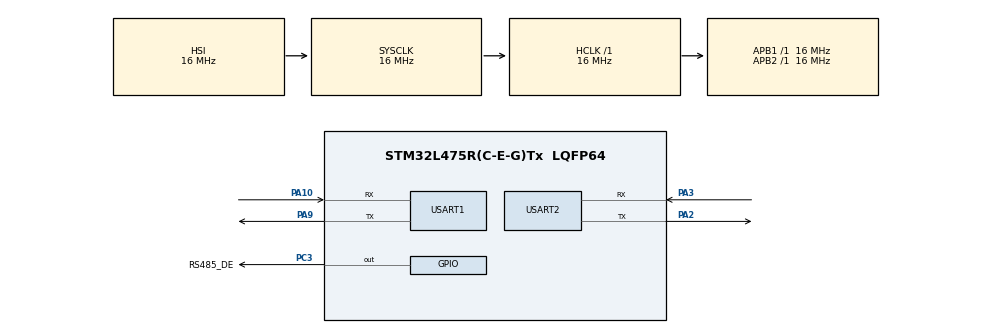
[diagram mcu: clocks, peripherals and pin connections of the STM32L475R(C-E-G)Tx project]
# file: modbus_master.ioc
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FREERTOS.Tasks01=defaultTask,0,128,StartDefaultTask,Default,NULL
FREERTOS.configTOTAL_HEAP_SIZE=10240
Mcu.Family=STM32L4
Mcu.Name=STM32L475R(C-E-G)Tx
Mcu.Package=LQFP64
NVIC.PriorityGroup=NVIC_PRIORITYGROUP_4
NVIC.TIM1_UP_TIM16_IRQn=true\:0\:0\:false\:false\:true\:false\:false
NVIC.TIM6_DAC_IRQn=true\:5\:0\:false\:false\:true\:true\:true
NVIC.TimeBase=TIM1_UP_TIM16_IRQn
NVIC.TimeBaseIP=TIM1
NVIC.USART2_IRQn=true\:5\:0\:false\:false\:true\:true\:true
PA10.Mode=Asynchronous
PA10.Signal=USART1_RX
PA2.Mode=Asynchronous
PA2.Signal=USART2_TX
PA3.Mode=Asynchronous
PA3.Signal=USART2_RX
PA9.Mode=Asynchronous
PA9.Signal=USART1_TX
PC14-OSC32_IN\ (PC14).Mode=LSE-External-Oscillator
PC14-OSC32_IN\ (PC14).Signal=RCC_OSC32_IN
PC15-OSC32_OUT\ (PC15).Mode=LSE-External-Oscillator
PC15-OSC32_OUT\ (PC15).Signal=RCC_OSC32_OUT
PC3.GPIO_Label=RS485_DE
PC3.Signal=GPIO_Output
PH0-OSC_IN\ (PH0).Mode=HSE-External-Oscillator
PH0-OSC_IN\ (PH0).Signal=RCC_OSC_IN
PH1-OSC_OUT\ (PH1).Mode=HSE-External-Oscillator
PH1-OSC_OUT\ (PH1).Signal=RCC_OSC_OUT
ProjectManager.HeapSize=0x2000
ProjectManager.StackSize=0x4000
ProjectManager.TargetToolchain=MDK-ARM V5
RCC.ADCFreq_Value=64000000
RCC.AHBFreq_Value=16000000
RCC.APB1Freq_Value=16000000
RCC.APB1TimFreq_Value=16000000
RCC.APB2Freq_Value=16000000
RCC.APB2TimFreq_Value=16000000
RCC.CortexFreq_Value=16000000
RCC.HCLKFreq_Value=16000000
RCC.HSI_VALUE=16000000
RCC.MSI_VALUE=4000000
RCC.PLLSourceVirtual=RCC_PLLSOURCE_HSI
RCC.SYSCLKFreq_VALUE=16000000
RCC.SYSCLKSource=RCC_SYSCLKSOURCE_HSI
RCC.USBFreq_Value=64000000
RCC.VCOOutputFreq_Value=128000000
TIM6.AutoReloadPreload=TIM_AUTORELOAD_PRELOAD_ENABLE
TIM6.Period=20-1
TIM6.Prescaler=800-1
USART1.VirtualMode-Asynchronous=VM_ASYNC
USART1.WordLength=WORDLENGTH_8B
USART2.VirtualMode-Asynchronous=VM_ASYNC
USART2.WordLength=WORDLENGTH_8B
VP_FREERTOS_VS_ENABLE.Mode=Enabled
VP_SYS_VS_tim1.Mode=TIM1
VP_TIM6_VS_ClockSourceINT.Mode=Enable_Timer
board=modbus_master

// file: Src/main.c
/**
  ******************************************************************************
  * @file           : main.c
  * @brief          : Main program body
  ******************************************************************************
  * This notice applies to any and all portions of this file
  * that are not between comment pairs USER CODE BEGIN and
  * USER CODE END. Other portions of this file, whether
  * inserted by the user or by software development tools
  * are owned by their respective copyright owners.
  *
  * Copyright (c) 2019 STMicroelectronics International N.V.
  * All rights reserved.
  *
  * Redistribution and use in source and binary forms, with or without
  * modification, are permitted, provided that the following conditions are met:
  *
  * 1. Redistribution of source code must retain the above copyright notice,
  *    this list of conditions and the following disclaimer.
  * 2. Redistributions in binary form must reproduce the above copyright notice,
  *    this list of conditions and the following disclaimer in the documentation
  *    and/or other materials provided with the distribution.
  * 3. Neither the name of STMicroelectronics nor the names of other
  *    contributors to this software may be used to endorse or promote products
  *    derived from this software without specific written permission.
  * 4. This software, including modifications and/or derivative works of this
  *    software, must execute solely and exclusively on microcontroller or
  *    microprocessor devices manufactured by or for STMicroelectronics.
  * 5. Redistribution and use of this software other than as permitted under
  *    this license is void and will automatically terminate your rights under
  *    this license.
  *
  * THIS SOFTWARE IS PROVIDED BY STMICROELECTRONICS AND CONTRIBUTORS "AS IS"
  * AND ANY EXPRESS, IMPLIED OR STATUTORY WARRANTIES, INCLUDING, BUT NOT
  * LIMITED TO, THE IMPLIED WARRANTIES OF MERCHANTABILITY, FITNESS FOR A
  * PARTICULAR PURPOSE AND NON-INFRINGEMENT OF THIRD PARTY INTELLECTUAL PROPERTY
  * RIGHTS ARE DISCLAIMED TO THE FULLEST EXTENT PERMITTED BY LAW. IN NO EVENT
  * SHALL STMICROELECTRONICS OR CONTRIBUTORS BE LIABLE FOR ANY DIRECT, INDIRECT,
  * INCIDENTAL, SPECIAL, EXEMPLARY, OR CONSEQUENTIAL DAMAGES (INCLUDING, BUT NOT
  * LIMITED TO, PROCUREMENT OF SUBSTITUTE GOODS OR SERVICES; LOSS OF USE, DATA,
  * OR PROFITS; OR BUSINESS INTERRUPTION) HOWEVER CAUSED AND ON ANY THEORY OF
  * LIABILITY, WHETHER IN CONTRACT, STRICT LIABILITY, OR TORT (INCLUDING
  * NEGLIGENCE OR OTHERWISE) ARISING IN ANY WAY OUT OF THE USE OF THIS SOFTWARE,
  * EVEN IF ADVISED OF THE POSSIBILITY OF SUCH DAMAGE.
  *
  ******************************************************************************
  */
#include "main.h"
#include "stm32l4xx_hal.h"
#include "cmsis_os.h"
#include "tim.h"
#include "usart.h"
#include "gpio.h"

/* USER CODE BEGIN Includes */
#include "user_mb_app.h"
/* USER CODE END Includes */

/* USER CODE BEGIN PV */
/* Private variables ---------------------------------------------------------*/

/* USER CODE END PV */

void SystemClock_Config(void);
void MX_FREERTOS_Init(void);

/* USER CODE BEGIN PFP */
/* Private function prototypes -----------------------------------------------*/

/* USER CODE END PFP */

/* USER CODE BEGIN 0 */
void HAL_UART_TxCpltCallback(UART_HandleTypeDef *huart)
{
	if(huart->Instance == RS485_UART.Instance) {
#if MB_MASTER_RTU_ENABLED > 0
		pxMBMasterFrameCBTransmitterEmpty();
#else
		pxMBFrameCBTransmitterEmpty();
#endif
	}
}

void HAL_UART_RxCpltCallback(UART_HandleTypeDef *huart)
{
	if(huart->Instance == RS485_UART.Instance) {
#if MB_MASTER_RTU_ENABLED > 0
		pxMBMasterFrameCBByteReceived();
#else
		pxMBFrameCBByteReceived();
#endif
	}
}
/* USER CODE END 0 */

int main(void)
{

  /* MCU Configuration----------------------------------------------------------*/

  /* Reset of all peripherals, Initializes the Flash interface and the Systick. */
  HAL_Init();

  /* Configure the system clock */
  SystemClock_Config();

  /* Initialize all configured peripherals */
  MX_GPIO_Init();
  MX_USART1_UART_Init();
  MX_USART2_UART_Init();
  MX_TIM6_Init();
  /* USER CODE BEGIN 2 */
	printf("===welcome to modbus master example!===\r\n");
  /* USER CODE END 2 */

  /* Call init function for freertos objects (in freertos.c) */
  MX_FREERTOS_Init();

  /* Start scheduler */
  osKernelStart();

  /* We should never get here as control is now taken by the scheduler */

  /* Infinite loop */
  while (1)
  {

  }

}

void SystemClock_Config(void)
{

  RCC_OscInitTypeDef RCC_OscInitStruct;
  RCC_ClkInitTypeDef RCC_ClkInitStruct;
  RCC_PeriphCLKInitTypeDef PeriphClkInit;

    /**Initializes the CPU, AHB and APB busses clocks
    */
  RCC_OscInitStruct.OscillatorType = RCC_OSCILLATORTYPE_HSI;
  RCC_OscInitStruct.HSIState = RCC_HSI_ON;
  RCC_OscInitStruct.HSICalibrationValue = 16;
  RCC_OscInitStruct.PLL.PLLState = RCC_PLL_NONE;
  if (HAL_RCC_OscConfig(&RCC_OscInitStruct) != HAL_OK)
  {
    _Error_Handler(__FILE__, __LINE__);
  }

    /**Initializes the CPU, AHB and APB busses clocks
    */
  RCC_ClkInitStruct.ClockType = RCC_CLOCKTYPE_HCLK|RCC_CLOCKTYPE_SYSCLK
                              |RCC_CLOCKTYPE_PCLK1|RCC_CLOCKTYPE_PCLK2;
  RCC_ClkInitStruct.SYSCLKSource = RCC_SYSCLKSOURCE_HSI;
  RCC_ClkInitStruct.AHBCLKDivider = RCC_SYSCLK_DIV1;
  RCC_ClkInitStruct.APB1CLKDivider = RCC_HCLK_DIV1;
  RCC_ClkInitStruct.APB2CLKDivider = RCC_HCLK_DIV1;

  if (HAL_RCC_ClockConfig(&RCC_ClkInitStruct, FLASH_LATENCY_0) != HAL_OK)
  {
    _Error_Handler(__FILE__, __LINE__);
  }

  PeriphClkInit.PeriphClockSelection = RCC_PERIPHCLK_USART1|RCC_PERIPHCLK_USART2;
  PeriphClkInit.Usart1ClockSelection = RCC_USART1CLKSOURCE_PCLK2;
  PeriphClkInit.Usart2ClockSelection = RCC_USART2CLKSOURCE_PCLK1;
  if (HAL_RCCEx_PeriphCLKConfig(&PeriphClkInit) != HAL_OK)
  {
    _Error_Handler(__FILE__, __LINE__);
  }

    /**Configure the main internal regulator output voltage
    */
  if (HAL_PWREx_ControlVoltageScaling(PWR_REGULATOR_VOLTAGE_SCALE1) != HAL_OK)
  {
    _Error_Handler(__FILE__, __LINE__);
  }

    /**Configure the Systick interrupt time
    */
  HAL_SYSTICK_Config(HAL_RCC_GetHCLKFreq()/1000);

    /**Configure the Systick
    */
  HAL_SYSTICK_CLKSourceConfig(SYSTICK_CLKSOURCE_HCLK);

  /* SysTick_IRQn interrupt configuration */
  HAL_NVIC_SetPriority(SysTick_IRQn, 15, 0);
}

void HAL_TIM_PeriodElapsedCallback(TIM_HandleTypeDef *htim)
{
  if (htim->Instance == TIM1) {
    HAL_IncTick();
  }
  /* USER CODE BEGIN Callback 1 */
	if(htim->Instance == htim6.Instance) {
#if MB_MASTER_RTU_ENABLED > 0
		pxMBMasterPortCBTimerExpired();
#else
		pxMBPortCBTimerExpired();
#endif
	}
  /* USER CODE END Callback 1 */
}

void _Error_Handler(char *file, int line)
{
  while(1)
  {
  }
}

/************************ (C) COPYRIGHT STMicroelectronics *****END OF FILE****/

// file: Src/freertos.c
/**
  ******************************************************************************
  * File Name          : freertos.c
  * Description        : Code for freertos applications
  ******************************************************************************
  * This notice applies to any and all portions of this file
  * that are not between comment pairs USER CODE BEGIN and
  * USER CODE END. Other portions of this file, whether
  * inserted by the user or by software development tools
  * are owned by their respective copyright owners.
  *
  * Copyright (c) 2019 STMicroelectronics International N.V.
  * All rights reserved.
  *
  * Redistribution and use in source and binary forms, with or without
  * modification, are permitted, provided that the following conditions are met:
  *
  * 1. Redistribution of source code must retain the above copyright notice,
  *    this list of conditions and the following disclaimer.
  * 2. Redistributions in binary form must reproduce the above copyright notice,
  *    this list of conditions and the following disclaimer in the documentation
  *    and/or other materials provided with the distribution.
  * 3. Neither the name of STMicroelectronics nor the names of other
  *    contributors to this software may be used to endorse or promote products
  *    derived from this software without specific written permission.
  * 4. This software, including modifications and/or derivative works of this
  *    software, must execute solely and exclusively on microcontroller or
  *    microprocessor devices manufactured by or for STMicroelectronics.
  * 5. Redistribution and use of this software other than as permitted under
  *    this license is void and will automatically terminate your rights under
  *    this license.
  *
  * THIS SOFTWARE IS PROVIDED BY STMICROELECTRONICS AND CONTRIBUTORS "AS IS"
  * AND ANY EXPRESS, IMPLIED OR STATUTORY WARRANTIES, INCLUDING, BUT NOT
  * LIMITED TO, THE IMPLIED WARRANTIES OF MERCHANTABILITY, FITNESS FOR A
  * PARTICULAR PURPOSE AND NON-INFRINGEMENT OF THIRD PARTY INTELLECTUAL PROPERTY
  * RIGHTS ARE DISCLAIMED TO THE FULLEST EXTENT PERMITTED BY LAW. IN NO EVENT
  * SHALL STMICROELECTRONICS OR CONTRIBUTORS BE LIABLE FOR ANY DIRECT, INDIRECT,
  * INCIDENTAL, SPECIAL, EXEMPLARY, OR CONSEQUENTIAL DAMAGES (INCLUDING, BUT NOT
  * LIMITED TO, PROCUREMENT OF SUBSTITUTE GOODS OR SERVICES; LOSS OF USE, DATA,
  * OR PROFITS; OR BUSINESS INTERRUPTION) HOWEVER CAUSED AND ON ANY THEORY OF
  * LIABILITY, WHETHER IN CONTRACT, STRICT LIABILITY, OR TORT (INCLUDING
  * NEGLIGENCE OR OTHERWISE) ARISING IN ANY WAY OUT OF THE USE OF THIS SOFTWARE,
  * EVEN IF ADVISED OF THE POSSIBILITY OF SUCH DAMAGE.
  *
  ******************************************************************************
  */

#include "FreeRTOS.h"
#include "task.h"
#include "cmsis_os.h"

/* USER CODE BEGIN Includes */
#include "stdio.h"
#include "modbus_example.h"
/* USER CODE END Includes */

osThreadId defaultTaskHandle;

/* USER CODE BEGIN Variables */
osThreadId modbusTaskHandle;
/* USER CODE END Variables */

void StartDefaultTask(void const * argument);

void MX_FREERTOS_Init(void); /* (MISRA C 2004 rule 8.1) */

/* Hook prototypes */

/* Init FreeRTOS */

void MX_FREERTOS_Init(void) {

  /* Create the thread(s) */
  /* definition and creation of defaultTask */
  osThreadDef(defaultTask, StartDefaultTask, osPriorityNormal, 0, 128);
  defaultTaskHandle = osThreadCreate(osThread(defaultTask), NULL);

  /* USER CODE BEGIN RTOS_THREADS */
  /* add threads, ... */
  osThreadDef(modbusTask, ModBusProcessTask, osPriorityNormal, 0, MB_MONITOR_TASK_STACKSIZE);
  modbusTaskHandle = osThreadCreate(osThread(modbusTask), NULL);
  /* USER CODE END RTOS_THREADS */

}

/* StartDefaultTask function */
void StartDefaultTask(void const * argument)
{

  /* USER CODE BEGIN StartDefaultTask */
  /* Infinite loop */
  for(;;)
  {
    osDelay(10);
  }
  /* USER CODE END StartDefaultTask */
}

/************************ (C) COPYRIGHT STMicroelectronics *****END OF FILE****/
